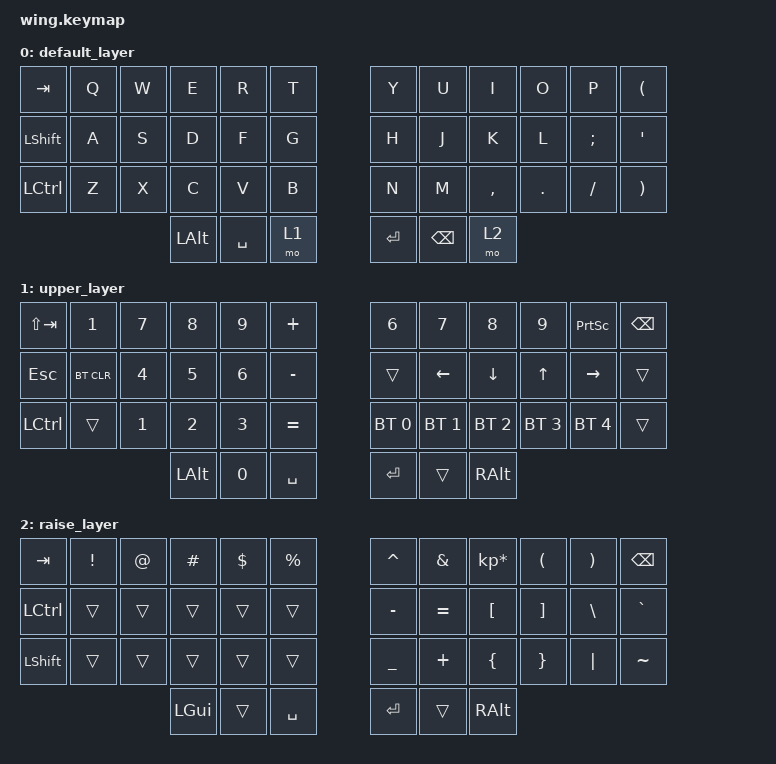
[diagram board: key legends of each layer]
/*
 * Copyright (c) 2020 The ZMK Contributors
 *
 * SPDX-License-Identifier: MIT
 */

#include <behaviors.dtsi>
#include <dt-bindings/zmk/keys.h>
#include <dt-bindings/zmk/bt.h>

/ {
        keymap {
                compatible = "zmk,keymap";

        default_layer {
            bindings = <
   &kp TAB       &kp Q &kp W &kp E &kp R &kp T    &kp Y &kp U  &kp I     &kp O   &kp P    &kp LPAR
   &kp LSHFT    &kp A &kp S &kp D &kp F &kp G    &kp H &kp J  &kp K     &kp L   &kp SEMI &kp SQT
   &kp LCTRL     &kp Z &kp X &kp C &kp V &kp B    &kp N &kp M  &kp COMMA &kp DOT &kp FSLH &kp RPAR
                  &kp LALT &kp SPACE &mo 1   &kp RET &kp BSPC &mo 2
            >;
        };

        upper_layer {
            bindings = <
   &kp LS(TAB)   &kp N1       &kp N7       &kp N8       &kp N9       &kp PLUS         &kp N6   &kp N7   &kp N8 &kp N9    &kp PSCRN &kp BSPC
   &kp ESC       &bt BT_CLR   &kp N4       &kp N5       &kp N6       &kp MINUS        &trans    &kp LEFT &kp DOWN &kp UP &kp RIGHT &trans
   &kp LCTRL     &trans &kp N1       &kp N2       &kp N3       &kp EQUAL         &bt BT_SEL 0   &bt BT_SEL 1   &bt BT_SEL 2 &bt BT_SEL 3 &bt BT_SEL 4 &trans
                          	        &kp LALT     &kp N0       &kp SPACE      &kp RET  &trans   &kp RALT
            >;
        };

                raise_layer {
// -----------------------------------------------------------------------------------------
// |  TAB |  !  |  @  |  #  |  $  |  %  |   |  ^  |  &  |  *  |  (  |  )  | BKSP |
// | CTRL |     |     |     |     |     |   |  -  |  =  |  [  |  ]  |  \  |  `   |
// | SHFT |     |     |     |     |     |   |  _  |  +  |  {  |  }  | "|" |  ~   |
//                    | GUI |     | SPC |   | ENT |     | ALT |
                        bindings = <
   &kp  TAB  &kp EXCL &kp AT &kp HASH &kp DLLR &kp PRCNT   &kp CARET &kp AMPS  &kp KP_MULTIPLY &kp LPAR &kp RPAR &kp BSPC
   &kp LCTRL &trans   &trans &trans   &trans   &trans      &kp MINUS &kp EQUAL &kp LBKT        &kp RBKT &kp BSLH &kp GRAVE
   &kp LSHFT &trans   &trans &trans   &trans   &trans      &kp UNDER &kp PLUS  &kp LBRC        &kp RBRC &kp PIPE &kp TILDE
                    	     &kp LGUI &trans   &kp SPACE   &kp RET   &trans    &kp RALT
                        >;
                };
        };
};
